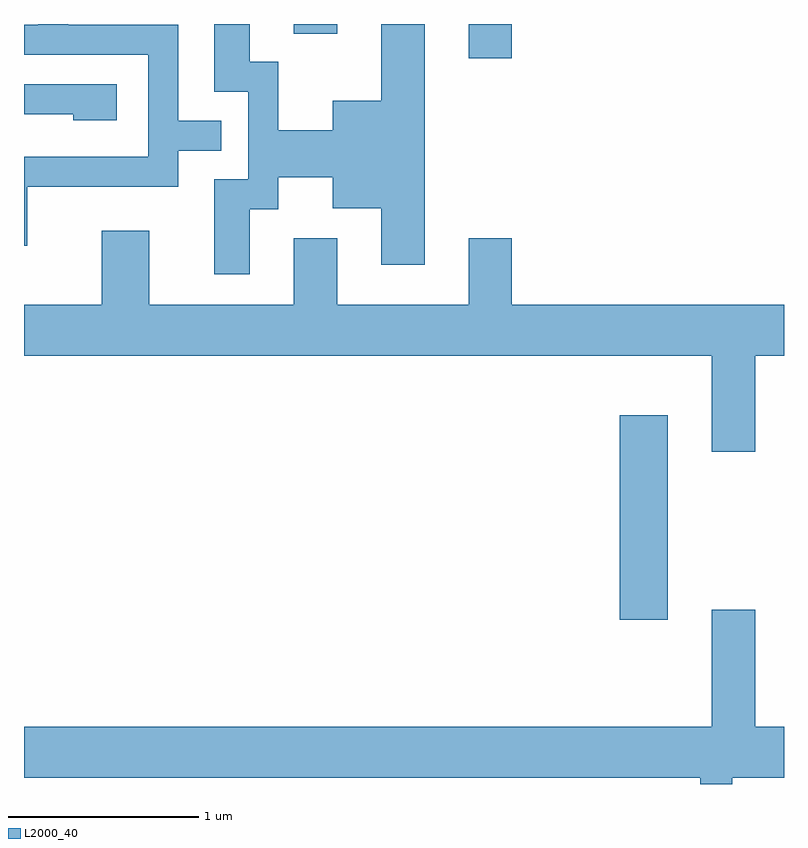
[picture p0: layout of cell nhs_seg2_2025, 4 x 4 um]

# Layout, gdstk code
import gdstk
lib = gdstk.Library(unit=1e-6, precision=1e-09)
def R(c, l, rs):  # rectangles x0, y0, x1, y1
    for r in rs: c.add(gdstk.rectangle(r[:2], r[2:], *l))
def P(c, l, *ps):  # polygons
    for p in ps: c.add(gdstk.Polygon(p, *l))
L2000_40 = (2000, 40)

nhs_seg2_2025 = lib.new_cell('nhs_seg2_2025')
R(nhs_seg2_2025, L2000_40, [(246.746,1084.666,246.999,1085.744), (245.951,1087.621,246.179,1087.802), (245.031,1087.751,245.259,1087.802)])
P(nhs_seg2_2025, L2000_40, [(244.799,1086.826),(244.949,1086.826),(244.949,1086.996),(245.236,1086.996),(245.236,1086.831),(245.491,1086.831),(245.491,1086.536),(245.719,1086.536),(245.719,1087.802),(245.491,1087.802),(245.491,1087.399),(245.236,1087.399),(245.236,1087.244),(244.949,1087.244),(244.949,1087.604),(244.799,1087.604),(244.799,1087.802),(244.611,1087.802),(244.611,1087.446),(244.791,1087.446),(244.791,1086.984),(244.611,1086.984),(244.611,1086.486),(244.799,1086.486)],
  [(243.629,1086.946),(244.424,1086.946),(244.424,1087.136),(244.648,1087.136),(244.648,1087.294),(244.424,1087.294),(244.424,1087.799),(243.844,1087.799),(243.844,1087.802),(243.686,1087.802),(243.686,1087.799),(243.611,1087.799),(243.611,1087.641),(244.266,1087.641),(244.266,1087.104),(243.611,1087.104),(243.611,1086.636),(243.629,1086.636)],
  [(244.099,1087.484),(243.611,1087.484),(243.611,1087.326),(243.871,1087.326),(243.871,1087.296),(244.099,1087.296)],
  [(247.459,1086.056),(247.611,1086.056),(247.611,1086.324),(246.179,1086.324),(246.179,1086.674),(245.951,1086.674),(245.951,1086.324),(245.259,1086.324),(245.259,1086.674),(245.031,1086.674),(245.031,1086.324),(244.269,1086.324),(244.269,1086.714),(244.021,1086.714),(244.021,1086.324),(243.611,1086.324),(243.611,1086.056),(247.231,1086.056),(247.231,1085.551),(247.459,1085.551)],
  [(247.231,1084.104),(243.611,1084.104),(243.611,1083.836),(247.171,1083.836),(247.171,1083.802),(247.339,1083.802),(247.339,1083.836),(247.611,1083.836),(247.611,1084.104),(247.459,1084.104),(247.459,1084.719),(247.231,1084.719)])

lib.write_gds('nhs_seg2_2025.gds')
